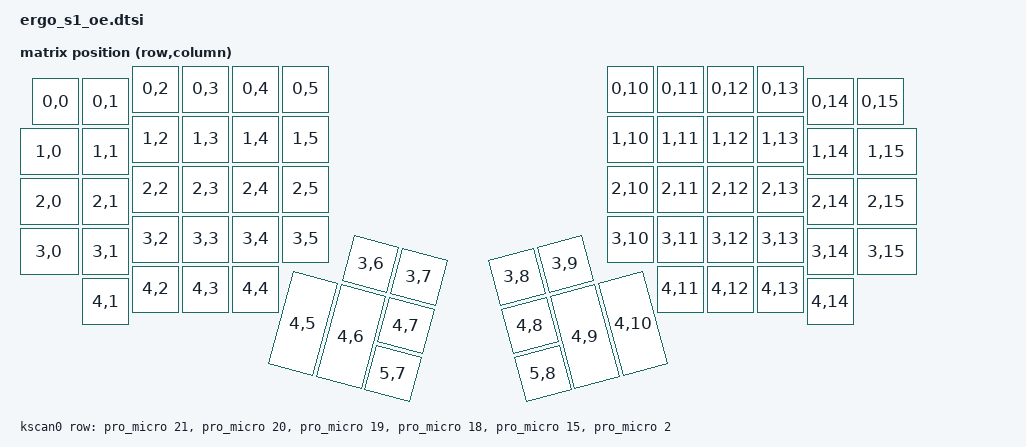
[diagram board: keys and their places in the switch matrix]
#include <physical_layouts.dtsi>
#include <dt-bindings/zmk/matrix_transform.h>

/ {
    physical_layout0: physical_layout_0 {
        compatible = "zmk,physical-layout";
        display-name = "Default";
        kscan = <&kscan0>;
        transform = <&default_transform0>;

        keys  //                     w   h    x    y     rot    rx    ry
            = <&key_physical_attrs 100 100   25   25       0     0     0>
            , <&key_physical_attrs 100 100  125   25       0     0     0>
            , <&key_physical_attrs 100 100  225    0       0     0     0>
            , <&key_physical_attrs 100 100  325    0       0     0     0>
            , <&key_physical_attrs 100 100  425    0       0     0     0>
            , <&key_physical_attrs 100 100  525    0       0     0     0>
            , <&key_physical_attrs 100 100 1175    0       0     0     0>
            , <&key_physical_attrs 100 100 1275    0       0     0     0>
            , <&key_physical_attrs 100 100 1375    0       0     0     0>
            , <&key_physical_attrs 100 100 1475    0       0     0     0>
            , <&key_physical_attrs 100 100 1575   25       0     0     0>
            , <&key_physical_attrs 100 100 1675   25       0     0     0>
            , <&key_physical_attrs 125 100    0  125       0     0     0>
            , <&key_physical_attrs 100 100  125  125       0     0     0>
            , <&key_physical_attrs 100 100  225  100       0     0     0>
            , <&key_physical_attrs 100 100  325  100       0     0     0>
            , <&key_physical_attrs 100 100  425  100       0     0     0>
            , <&key_physical_attrs 100 100  525  100       0     0     0>
            , <&key_physical_attrs 100 100 1175  100       0     0     0>
            , <&key_physical_attrs 100 100 1275  100       0     0     0>
            , <&key_physical_attrs 100 100 1375  100       0     0     0>
            , <&key_physical_attrs 100 100 1475  100       0     0     0>
            , <&key_physical_attrs 100 100 1575  125       0     0     0>
            , <&key_physical_attrs 125 100 1675  125       0     0     0>
            , <&key_physical_attrs 125 100    0  225       0     0     0>
            , <&key_physical_attrs 100 100  125  225       0     0     0>
            , <&key_physical_attrs 100 100  225  200       0     0     0>
            , <&key_physical_attrs 100 100  325  200       0     0     0>
            , <&key_physical_attrs 100 100  425  200       0     0     0>
            , <&key_physical_attrs 100 100  525  200       0     0     0>
            , <&key_physical_attrs 100 100 1175  200       0     0     0>
            , <&key_physical_attrs 100 100 1275  200       0     0     0>
            , <&key_physical_attrs 100 100 1375  200       0     0     0>
            , <&key_physical_attrs 100 100 1475  200       0     0     0>
            , <&key_physical_attrs 100 100 1575  225       0     0     0>
            , <&key_physical_attrs 125 100 1675  225       0     0     0>
            , <&key_physical_attrs 125 100    0  325       0     0     0>
            , <&key_physical_attrs 100 100  125  325       0     0     0>
            , <&key_physical_attrs 100 100  225  300       0     0     0>
            , <&key_physical_attrs 100 100  325  300       0     0     0>
            , <&key_physical_attrs 100 100  425  300       0     0     0>
            , <&key_physical_attrs 100 100  525  300       0     0     0>
            , <&key_physical_attrs 100 100  675  300    1500   525   300>
            , <&key_physical_attrs 100 100  775  300    1500   525   300>
            , <&key_physical_attrs 100 100  925  300 (-1500)  1275   300>
            , <&key_physical_attrs 100 100 1025  300 (-1500)  1275   300>
            , <&key_physical_attrs 100 100 1175  300       0     0     0>
            , <&key_physical_attrs 100 100 1275  300       0     0     0>
            , <&key_physical_attrs 100 100 1375  300       0     0     0>
            , <&key_physical_attrs 100 100 1475  300       0     0     0>
            , <&key_physical_attrs 100 100 1575  325       0     0     0>
            , <&key_physical_attrs 125 100 1675  325       0     0     0>
            , <&key_physical_attrs 100 100  125  425       0     0     0>
            , <&key_physical_attrs 100 100  225  400       0     0     0>
            , <&key_physical_attrs 100 100  325  400       0     0     0>
            , <&key_physical_attrs 100 100  425  400       0     0     0>
            , <&key_physical_attrs 100 200  575  400    1500   525   300>
            , <&key_physical_attrs 100 200  675  400    1500   525   300>
            , <&key_physical_attrs 100 100  775  400    1500   525   300>
            , <&key_physical_attrs 100 100  925  400 (-1500)  1275   300>
            , <&key_physical_attrs 100 200 1025  400 (-1500)  1275   300>
            , <&key_physical_attrs 100 200 1125  400 (-1500)  1275   300>
            , <&key_physical_attrs 100 100 1275  400       0     0     0>
            , <&key_physical_attrs 100 100 1375  400       0     0     0>
            , <&key_physical_attrs 100 100 1475  400       0     0     0>
            , <&key_physical_attrs 100 100 1575  425       0     0     0>
            , <&key_physical_attrs 100 100  775  500    1500   525   300>
            , <&key_physical_attrs 100 100  925  500 (-1500)  1275   300>
            ;
    };

    position_map {
        compatible = "zmk,physical-layout-position-map";

        physical_layout0 {
            physical-layout = <&physical_layout0>;
            positions = <>;
        };
    };

    default_transform0: keymap_transform_0 {
        compatible = "zmk,matrix-transform";
        columns = <16>;
        rows = <6>;
        // | SW1  | SW2  | SW3  | SW4  | SW5  | SW6  |                               | SW6  | SW5  | SW4  | SW3  | SW2  | SW1  |
        // | SW7  | SW8  | SW9  | SW10 | SW11 | SW12 | SW13 |                 | SW13 | SW12 | SW11 | SW10 | SW9  | SW8  | SW7  |
        // | SW14 | SW15 | SW16 | SW17 | SW18 | SW19 | SW20 |                 | SW20 | SW19 | SW18 | SW17 | SW16 | SW15 | SW14 |
        // | SW21 | SW22 | SW23 | SW24 | SW25 | SW26 | SW27 | SW28 |   | SW28 | SW27 | SW26 | SW25 | SW24 | SW23 | SW22 | SW21 |
        // | SW29 | SW30 | SW31 | SW32 |     SW33    | SW34 | SW35 |   | SW35 | SW34 |     SW33    | SW32 | SW31 | SW30 | SW29 |
                map = <
        RC(0,0) RC(0,1) RC(0,2) RC(0,3) RC(0,4) RC(0,5)                                                     RC(0,10) RC(0,11) RC(0,12) RC(0,13) RC(0,14) RC(0,15)
        RC(1,0) RC(1,1) RC(1,2) RC(1,3) RC(1,4) RC(1,5)                                                     RC(1,10) RC(1,11) RC(1,12) RC(1,13) RC(1,14) RC(1,15)
        RC(2,0) RC(2,1) RC(2,2) RC(2,3) RC(2,4) RC(2,5)                                                     RC(2,10) RC(2,11) RC(2,12) RC(2,13) RC(2,14) RC(2,15)
        RC(3,0) RC(3,1) RC(3,2) RC(3,3) RC(3,4) RC(3,5)         RC(3,6) RC(3,7)     RC(3,8) RC(3,9)         RC(3,10) RC(3,11) RC(3,12) RC(3,13) RC(3,14) RC(3,15)
                RC(4,1) RC(4,2) RC(4,3) RC(4,4)         RC(4,5) RC(4,6) RC(4,7)     RC(4,8) RC(4,9) RC(4,10)         RC(4,11) RC(4,12) RC(4,13) RC(4,14)
                                                                        RC(5,7)     RC(5,8)
                >;
    };

    kscan0: kscan {
        compatible = "zmk,kscan-gpio-matrix";
        label = "KSCAN";

        diode-direction = "col2row";
        row-gpios
            = <&pro_micro 21 (GPIO_ACTIVE_HIGH | GPIO_PULL_DOWN)>
            , <&pro_micro 20 (GPIO_ACTIVE_HIGH | GPIO_PULL_DOWN)>
            , <&pro_micro 19 (GPIO_ACTIVE_HIGH | GPIO_PULL_DOWN)>
            , <&pro_micro 18 (GPIO_ACTIVE_HIGH | GPIO_PULL_DOWN)>
            , <&pro_micro 15 (GPIO_ACTIVE_HIGH | GPIO_PULL_DOWN)>
            , <&pro_micro 2 (GPIO_ACTIVE_HIGH | GPIO_PULL_DOWN)>
            ;

    };
};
